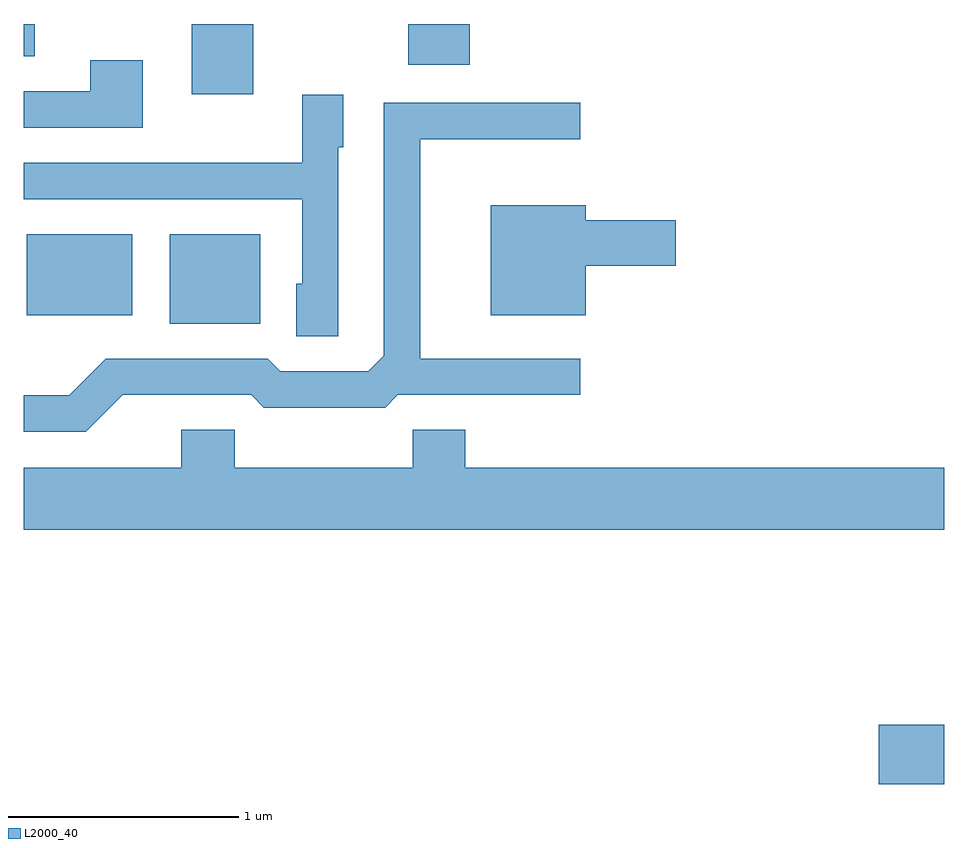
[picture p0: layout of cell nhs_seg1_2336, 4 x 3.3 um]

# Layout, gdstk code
import gdstk
lib = gdstk.Library(unit=1e-6, precision=1e-09)
def R(c, l, rs):  # rectangles x0, y0, x1, y1
    for r in rs: c.add(gdstk.rectangle(r[:2], r[2:], *l))
def P(c, l, *ps):  # polygons
    for p in ps: c.add(gdstk.Polygon(p, *l))
L2000_40 = (2000, 40)

nhs_seg1_2336 = lib.new_cell('nhs_seg1_2336')
R(nhs_seg1_2336, L2000_40, [(259.326,958.411,259.611,958.669), (256.246,960.411,256.639,960.799), (255.626,960.446,256.084,960.799), (256.341,961.406,256.609,961.712), (257.281,961.536,257.549,961.712), (255.611,961.571,255.659,961.712)])
P(nhs_seg1_2336, L2000_40, [(256.129,961.554),(255.901,961.554),(255.901,961.419),(255.611,961.419),(255.611,961.261),(256.129,961.261)],
  [(256.979,961.176),(256.999,961.176),(256.999,961.404),(256.821,961.404),(256.821,961.109),(255.611,961.109),(255.611,960.951),(256.821,960.951),(256.821,960.584),(256.796,960.584),(256.796,960.356),(256.979,960.356)],
  [(256.041,960.101),(256.599,960.101),(256.654,960.046),(257.182,960.046),(257.236,960.101),(258.028,960.101),(258.028,960.259),(257.334,960.259),(257.334,961.211),(258.028,961.211),(258.028,961.369),(257.176,961.369),(257.176,960.272),(257.109,960.204),(256.727,960.204),(256.671,960.259),(255.969,960.259),(255.809,960.099),(255.611,960.099),(255.611,959.941),(255.882,959.941)],
  [(258.054,960.661),(258.444,960.661),(258.444,960.859),(258.054,960.859),(258.054,960.924),(257.641,960.924),(257.641,960.446),(258.054,960.446)],
  [(259.611,959.784),(257.529,959.784),(257.529,959.949),(257.301,959.949),(257.301,959.784),(256.529,959.784),(256.529,959.949),(256.296,959.949),(256.296,959.784),(255.611,959.784),(255.611,959.516),(259.611,959.516)])

lib.write_gds('nhs_seg1_2336.gds')
